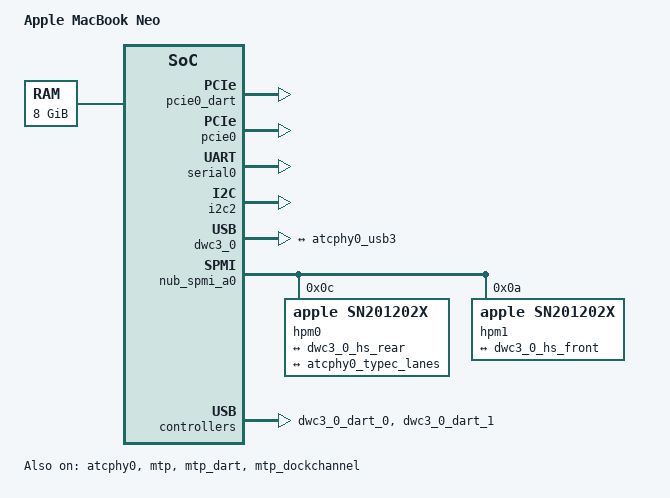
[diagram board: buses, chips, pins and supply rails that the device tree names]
// SPDX-License-Identifier: GPL-2.0+ OR MIT
/*
 * Apple MacBook Neo
 *
 * target-type: J700
 *
 * Copyright The Asahi Linux Contributors
 */

/dts-v1/;

#include "t8140.dtsi"
/ {
	compatible = "apple,j700", "apple,t8140", "apple,arm-platform";
	model = "Apple MacBook Neo";

	aliases {
		atcphy0 = &atcphy0;
		serial0 = &serial0;
		keyboard = &keyboard;
	};

	chosen {
		#address-cells = <2>;
		#size-cells = <2>;
		ranges;
		stdout-path = "serial0";

		framebuffer0: framebuffer@0 {
			compatible = "apple,simple-framebuffer", "simple-framebuffer";
			reg = <0 0 0 0>; /* To be filled by loader */
			/* Format properties will be added by loader */
			status = "disabled";
		};
	};

	reserved-memory {
		#address-cells = <2>;
		#size-cells = <2>;
		ranges;
		/* To be filled by loader */
	};

	memory@800000000 {
		device_type = "memory";
		reg = <0x100 0 0x2 0>; /* To be filled by loader */
	};
};

/*
 * Phase-1 wireless inventory only.  The exact register windows, IRQs, port
 * count, MSI range and PERST GPIO come from the live J700 ADT captured as
 * neo-bringup/build/j700-live-adt.bin (SHA-256 f117dd865b13ce90336e5a070b333ea45b1620320be576260c0e36d5f24a2e3c).
 * m1n1 has already initialized port 0 and left its link up before Linux.
 * Describe only the generic host bridge here: no bogus Broadcom compatible,
 * no endpoint node, and no IOMMU RID/SID map until PCI enumeration proves the
 * two real functions and Phase 2 authorizes DMA.
 */
&soc {
	pcie0_dart: iommu@390000000 {
		compatible = "apple,t8140-dart", "apple,t8110-dart";
		reg = <0x3 0x90000000 0x0 0x20000>;
		#iommu-cells = <1>;
		interrupt-parent = <&aic>;
		interrupts = <AIC_IRQ 1206 IRQ_TYPE_LEVEL_HIGH>;
	};

	pcie0: pcie@1cb0000000 {
		compatible = "apple,t8140-pcie", "apple,t6020-pcie";
		device_type = "pci";

		reg = <0x1c 0xb0000000 0x0 0x10000000>, /* ECAM */
		      <0x3 0x94000000 0x0 0x4000>,     /* RC */
		      <0x3 0x90028000 0x0 0x8000>,     /* port 0 */
		      <0x3 0x97020000 0x0 0x4000>;     /* port 0 PHY */
		reg-names = "config", "rc", "port0", "phy0";

		interrupt-parent = <&aic>;
		interrupts = <AIC_IRQ 1205 IRQ_TYPE_LEVEL_HIGH>;

		msi-controller;
		msi-parent = <&pcie0>;
		msi-ranges = <&aic AIC_IRQ 1331 IRQ_TYPE_EDGE_RISING 32>;

		bus-range = <0 8>;
		#address-cells = <3>;
		#size-cells = <2>;
		ranges = <0x43000000 0xb 0xc0000000 0xb 0xc0000000 0x0 0x20000000>,
			 <0x02000000 0x0 0x80000000 0xb 0x80000000 0x0 0x40000000>;

		port00: pci@0,0 {
			device_type = "pci";
			reg = <0x0 0x0 0x0 0x0 0x0>;
			reset-gpios = <&pinctrl_ap 114 GPIO_ACTIVE_LOW>;
			/*
			 * Live J700 ADT function-reg_on is
			 * pKW8("pcIO", 0x800000, 0x80000).  Aurora IRC
			 * 92012-92014 records the hardware pass through the existing
			 * macsmc-gpio provider as pin 8.
			 */
			pwren-gpios = <&smc_gpio 8 GPIO_ACTIVE_HIGH>;
			maximum-link-speed = <2>;

			#address-cells = <3>;
			#size-cells = <2>;
			ranges;

			interrupt-controller;
			#interrupt-cells = <1>;
			interrupt-map-mask = <0 0 0 7>;
			interrupt-map = <0 0 0 1 &port00 0 0 0 0>,
					<0 0 0 2 &port00 0 0 0 1>,
					<0 0 0 3 &port00 0 0 0 2>,
					<0 0 0 4 &port00 0 0 0 3>;
		};
	};
};

&serial0 {
	status = "okay";
};

&pinctrl_ap {
	status = "okay";
};

/*
 * Keep the fixed VL122 out of reset for the complete Linux lifetime.  Its I2C
 * plane NACKs while the USB core is running, so only configure and open the
 * independent TICD2E22 eUSB repeater at address 0x21.
 */
&i2c2 {
	apple,j700-usb-apply-repeater-tunable;
	apple,j700-usb-read-only-diagnostics;
	hub-reset-gpios = <&pinctrl_ap 142 GPIO_ACTIVE_HIGH>;
	status = "okay";
};

&dwc3_0 {
	/delete-property/ hub-reset-gpios;
	apple,usb2-hub-always-on;
	status = "okay";

	/*
	 * One fixed VL122 hub fans this DWC3 USB2 link out to both HPMs.  Keep
	 * separate role-switch inputs so either connector can report cable state
	 * without tearing down or stealing the shared always-on host.
	 */
	usb2-role-inputs {
		#address-cells = <1>;
		#size-cells = <0>;

		usb2-role-input@0 {
			reg = <0>;
			usb-role-switch;

			port {
				dwc3_0_hs_rear: endpoint {
					remote-endpoint = <&typec0_connector_hs>;
				};
			};
		};

		usb2-role-input@1 {
			reg = <1>;
			usb-role-switch;

			port {
				dwc3_0_hs_front: endpoint {
					remote-endpoint = <&typec1_connector_hs>;
				};
			};
		};
	};

	ports {
		#address-cells = <1>;
		#size-cells = <0>;

		port@1 {
			reg = <1>;

			dwc3_0_ss: endpoint {
				remote-endpoint = <&atcphy0_usb3>;
			};
		};
	};
};

/*
 * J700 has one DWC3 and two HPMs.  Both connectors' USB2 signals reach DWC3
 * through the permanently connected VL122 hub, so neither HPM is a USB2 role
 * source: disconnecting either downstream cable must leave the host and hub
 * running.  The rear/DFU-side HPM owns the only direct ATC/SuperSpeed lane;
 * the front connector has no direct ATC endpoint.
 */
&nub_spmi_a0 {
	status = "okay";

	hpm0: usb-pd@c {
		compatible = "apple,sn201202x";
		reg = <0xc SPMI_USID>;
		interrupts = <11 IRQ_TYPE_EDGE_RISING>,
			     <13 IRQ_TYPE_EDGE_RISING>,
			     <17 IRQ_TYPE_EDGE_RISING>,
			     <19 IRQ_TYPE_EDGE_RISING>;
		interrupt-names = "irq", "select", "sleep", "wake";

		typec0: connector {
			compatible = "usb-c-connector";
			label = "USB-C Left-rear";
			power-role = "dual";
			data-role = "host";

			ports {
				#address-cells = <1>;
				#size-cells = <0>;

				port@0 {
					reg = <0>;

					typec0_connector_hs: endpoint {
						remote-endpoint = <&dwc3_0_hs_rear>;
					};
				};

				port@1 {
					reg = <1>;

					typec0_connector_ss: endpoint {
						remote-endpoint = <&atcphy0_typec_lanes>;
					};
				};
			};
		};
	};

	hpm1: usb-pd@a {
		compatible = "apple,sn201202x";
		reg = <0xa SPMI_USID>;
		interrupts = <37 IRQ_TYPE_EDGE_RISING>,
			     <39 IRQ_TYPE_EDGE_RISING>,
			     <43 IRQ_TYPE_EDGE_RISING>,
			     <45 IRQ_TYPE_EDGE_RISING>;
		interrupt-names = "irq", "select", "sleep", "wake";

		typec1: connector {
			compatible = "usb-c-connector";
			label = "USB-C Left-front";
			power-role = "dual";
			data-role = "host";

			port {
				typec1_connector_hs: endpoint {
					remote-endpoint = <&dwc3_0_hs_front>;
				};
			};
		};
	};
};

&atcphy0 {
	/*
	 * Live J700 ADT tunable_USB2PHY_REG_DFLT.  XNU applies this to ATC
	 * memory region 2 at the end of AppleT8130TypeCPhy::eusb2phy_init().
	 */
	apple,tunable-usb2phy-reg-dflt =
		<0x80 0x000000ff 0x00000017>,
		<0x84 0x000003ff 0x000000c8>,
		<0x88 0x000000ff 0x00000005>,
		<0x8c 0x000003ff 0x00000005>;
	status = "okay";

	ports {
		#address-cells = <1>;
		#size-cells = <0>;

		port@0 {
			reg = <0>;

			atcphy0_typec_lanes: endpoint {
				remote-endpoint = <&typec0_connector_ss>;
			};
		};

		port@1 {
			reg = <1>;

			atcphy0_usb3: endpoint {
				remote-endpoint = <&dwc3_0_ss>;
			};
		};
	};
};

&dwc3_0_dart_0 {
	status = "okay";
};

&dwc3_0_dart_1 {
	status = "okay";
};

/*
 * iBoot leaves both SMC I2C domains active.  Powering either one down on
 * J700 causes a delayed SError, so Linux must preserve the inherited state.
 */
&ps_smc_i2cm1 {
	apple,always-on;
};

&ps_smc_i2cm2 {
	apple,always-on;
};

/*
 * Keep U-Boot from owning this transport on T8140.  Its driver explicitly
 * declines the device before touching RTKit; Linux must initialize MTP first.
 */
&mtp {
	status = "okay";
};

&mtp_mbox {
	status = "okay";
};

&mtp_dart {
	status = "okay";
};

&mtp_dockchannel {
	status = "okay";
};

&mtp_hid {
	apple,no-stm;

	multi-touch {
		firmware-name = "apple/tpmtfw-j700.bin";
		apple,adopt-preinitialized-ipd-functions;
		apple,ack-preinitialized-afe-pulse;
	};

	keyboard: keyboard {
		hid-country-code = <33>;
		apple,keyboard-layout-id = <5>;
	};
};
